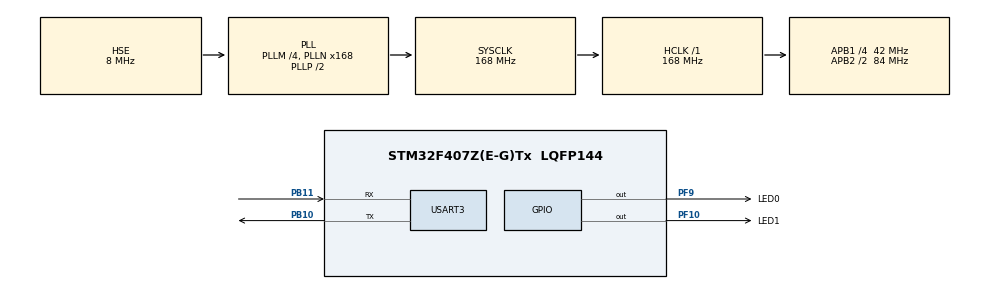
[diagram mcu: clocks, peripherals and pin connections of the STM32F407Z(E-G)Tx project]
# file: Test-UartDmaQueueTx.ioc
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Dma.Request0=USART3_TX
Dma.USART3_TX.0.Direction=DMA_MEMORY_TO_PERIPH
Dma.USART3_TX.0.FIFOMode=DMA_FIFOMODE_DISABLE
Dma.USART3_TX.0.Instance=DMA1_Stream3
Dma.USART3_TX.0.MemDataAlignment=DMA_MDATAALIGN_BYTE
Dma.USART3_TX.0.MemInc=DMA_MINC_ENABLE
Dma.USART3_TX.0.Mode=DMA_NORMAL
Dma.USART3_TX.0.PeriphDataAlignment=DMA_PDATAALIGN_BYTE
Dma.USART3_TX.0.PeriphInc=DMA_PINC_DISABLE
Dma.USART3_TX.0.Priority=DMA_PRIORITY_MEDIUM
Mcu.Family=STM32F4
Mcu.Name=STM32F407Z(E-G)Tx
Mcu.Package=LQFP144
NVIC.DMA1_Stream3_IRQn=true\:1\:0\:true\:false\:true\:false\:true\:true
NVIC.PriorityGroup=NVIC_PRIORITYGROUP_4
NVIC.USART3_IRQn=true\:1\:0\:true\:false\:true\:true\:true\:true
PA13.Mode=Serial_Wire
PA13.Signal=SYS_JTMS-SWDIO
PA14.Mode=Serial_Wire
PA14.Signal=SYS_JTCK-SWCLK
PB10.Mode=Asynchronous
PB10.Signal=USART3_TX
PB11.Mode=Asynchronous
PB11.Signal=USART3_RX
PF10.GPIO_Label=LED1
PF10.Signal=GPIO_Output
PF9.GPIO_Label=LED0
PF9.Signal=GPIO_Output
PH0-OSC_IN.Mode=HSE-External-Oscillator
PH0-OSC_IN.Signal=RCC_OSC_IN
PH1-OSC_OUT.Mode=HSE-External-Oscillator
PH1-OSC_OUT.Signal=RCC_OSC_OUT
ProjectManager.HeapSize=0x200
ProjectManager.StackSize=0x400
ProjectManager.TargetToolchain=MDK-ARM V5.32
RCC.48MHZClocksFreq_Value=84000000
RCC.AHBFreq_Value=168000000
RCC.APB1CLKDivider=RCC_HCLK_DIV4
RCC.APB1Freq_Value=42000000
RCC.APB1TimFreq_Value=84000000
RCC.APB2CLKDivider=RCC_HCLK_DIV2
RCC.APB2Freq_Value=84000000
RCC.APB2TimFreq_Value=168000000
RCC.CortexFreq_Value=168000000
RCC.HCLKFreq_Value=168000000
RCC.HSE_VALUE=8000000
RCC.HSI_VALUE=16000000
RCC.LSE_VALUE=32768
RCC.PLLM=4
RCC.PLLN=168
RCC.PLLSourceVirtual=RCC_PLLSOURCE_HSE
RCC.SYSCLKFreq_VALUE=168000000
RCC.SYSCLKSource=RCC_SYSCLKSOURCE_PLLCLK
RCC.VCOOutputFreq_Value=336000000
USART3.VirtualMode=VM_ASYNC
board=custom

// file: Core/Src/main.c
/* USER CODE BEGIN Header */
/**
  ******************************************************************************
  * @file           : main.c
  * @brief          : Main program body
  ******************************************************************************
  * @attention
  *
  * Copyright (c) 2026 STMicroelectronics.
  * All rights reserved.
  *
  * This software is licensed under terms that can be found in the LICENSE file
  * in the root directory of this software component.
  * If no LICENSE file comes with this software, it is provided AS-IS.
  *
  ******************************************************************************
  */
/* USER CODE END Header */
#include "main.h"
#include "dma.h"
#include "usart.h"
#include "gpio.h"

void SystemClock_Config(void);

/* USER CODE BEGIN 0 */
extern UART_HandleTypeDef huart3;
extern DMA_HandleTypeDef hdma_usart3_tx;
UartDmaQueueTx_t ttUQDT;
void HAL_UART_TxCpltCallback(UART_HandleTypeDef *huart) {
  if (huart->Instance == USART3) {
    UartDmaQueueTx_FuncCalled_InCpltInterrupt(&ttUQDT);
  }
}
/* USER CODE END 0 */

int main(void)
{

  /* MCU Configuration--------------------------------------------------------*/

  /* Reset of all peripherals, Initializes the Flash interface and the Systick. */
  HAL_Init();

  /* Configure the system clock */
  SystemClock_Config();

  /* Initialize all configured peripherals */
  MX_GPIO_Init();
  MX_DMA_Init();
  MX_USART3_UART_Init();
  /* USER CODE BEGIN 2 */
  UartDmaQueueTx_Init(&ttUQDT, &huart3, &hdma_usart3_tx); // 初始化
  UartDmaQueueTx_Printf(&ttUQDT, "Hello, World!\n");
  UartDmaQueueTx_Printf(&ttUQDT, "Hello, STM32!\n");
  UartDmaQueueTx_Printf(&ttUQDT, "Hello, F407ZGT6!\n");
  UartDmaQueueTx_Printf(&ttUQDT, "\r\n");
  /* USER CODE END 2 */

  /* Infinite loop */
  /* USER CODE BEGIN WHILE */
  uint64_t cnt = 0;
  uint32_t a = 0;
  while (1)
  {
    UartDmaQueueTx_FuncCalled_InInfiniteLoop(&ttUQDT);

    if (a++ >= 1) {
      UartDmaQueueTx_Printf(&ttUQDT, "[%010llu] Hello, World!\n", cnt++);
      a = 0;
    }
    /* USER CODE END WHILE */

  }
}

void SystemClock_Config(void)
{
  RCC_OscInitTypeDef RCC_OscInitStruct = {0};
  RCC_ClkInitTypeDef RCC_ClkInitStruct = {0};

  /** Configure the main internal regulator output voltage
  */
  __HAL_RCC_PWR_CLK_ENABLE();
  __HAL_PWR_VOLTAGESCALING_CONFIG(PWR_REGULATOR_VOLTAGE_SCALE1);

  /** Initializes the RCC Oscillators according to the specified parameters
  * in the RCC_OscInitTypeDef structure.
  */
  RCC_OscInitStruct.OscillatorType = RCC_OSCILLATORTYPE_HSE;
  RCC_OscInitStruct.HSEState = RCC_HSE_ON;
  RCC_OscInitStruct.PLL.PLLState = RCC_PLL_ON;
  RCC_OscInitStruct.PLL.PLLSource = RCC_PLLSOURCE_HSE;
  RCC_OscInitStruct.PLL.PLLM = 4;
  RCC_OscInitStruct.PLL.PLLN = 168;
  RCC_OscInitStruct.PLL.PLLP = RCC_PLLP_DIV2;
  RCC_OscInitStruct.PLL.PLLQ = 4;
  if (HAL_RCC_OscConfig(&RCC_OscInitStruct) != HAL_OK)
  {
    Error_Handler();
  }

  /** Initializes the CPU, AHB and APB buses clocks
  */
  RCC_ClkInitStruct.ClockType = RCC_CLOCKTYPE_HCLK|RCC_CLOCKTYPE_SYSCLK
                              |RCC_CLOCKTYPE_PCLK1|RCC_CLOCKTYPE_PCLK2;
  RCC_ClkInitStruct.SYSCLKSource = RCC_SYSCLKSOURCE_PLLCLK;
  RCC_ClkInitStruct.AHBCLKDivider = RCC_SYSCLK_DIV1;
  RCC_ClkInitStruct.APB1CLKDivider = RCC_HCLK_DIV4;
  RCC_ClkInitStruct.APB2CLKDivider = RCC_HCLK_DIV2;

  if (HAL_RCC_ClockConfig(&RCC_ClkInitStruct, FLASH_LATENCY_5) != HAL_OK)
  {
    Error_Handler();
  }
}

void Error_Handler(void)
{
  __disable_irq();
  while (1)
  {
  }
}
